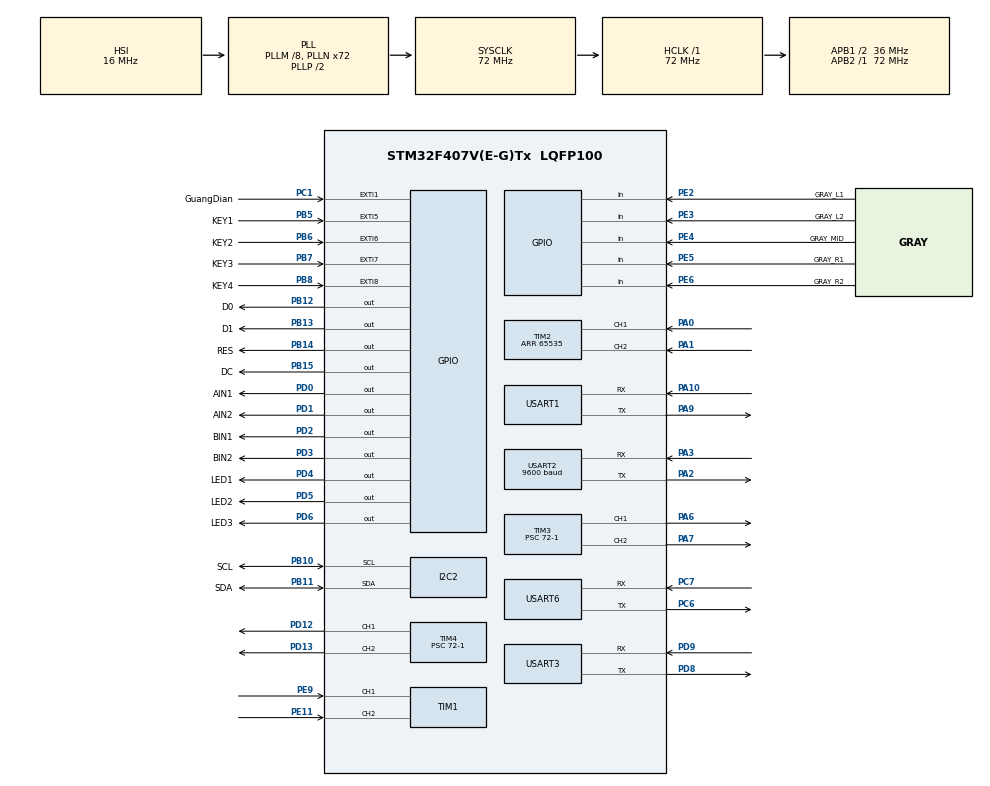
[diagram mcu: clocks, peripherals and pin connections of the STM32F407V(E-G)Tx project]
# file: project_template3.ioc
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I2C2.I2C_Mode=I2C_Fast
Mcu.Family=STM32F4
Mcu.Name=STM32F407V(E-G)Tx
Mcu.Package=LQFP100
NVIC.EXTI1_IRQn=true\:0\:0\:false\:false\:true\:true\:true
NVIC.I2C2_ER_IRQn=true\:0\:0\:false\:false\:true\:true\:true
NVIC.I2C2_EV_IRQn=true\:0\:0\:false\:false\:true\:true\:true
NVIC.PriorityGroup=NVIC_PRIORITYGROUP_4
NVIC.TIM1_BRK_TIM9_IRQn=true\:0\:0\:false\:false\:true\:true\:true
NVIC.TIM1_CC_IRQn=true\:0\:0\:false\:false\:true\:true\:true
NVIC.TIM1_TRG_COM_TIM11_IRQn=true\:0\:0\:false\:false\:true\:true\:true
NVIC.TIM1_UP_TIM10_IRQn=true\:0\:0\:false\:false\:true\:true\:true
NVIC.TIM3_IRQn=true\:0\:0\:false\:false\:true\:true\:true
NVIC.TIM6_DAC_IRQn=true\:1\:0\:true\:false\:true\:true\:true
NVIC.USART1_IRQn=true\:0\:0\:false\:false\:true\:true\:true
NVIC.USART2_IRQn=true\:0\:0\:false\:false\:true\:true\:true
NVIC.USART3_IRQn=true\:0\:0\:false\:false\:true\:true\:true
NVIC.USART6_IRQn=true\:0\:0\:false\:false\:true\:true\:true
PA0-WKUP.Signal=S_TIM2_CH1_ETR
PA1.Signal=S_TIM2_CH2
PA10.Mode=Asynchronous
PA10.Signal=USART1_RX
PA13.Mode=JTAG_5_pins
PA13.Signal=SYS_JTMS-SWDIO
PA14.Mode=JTAG_5_pins
PA14.Signal=SYS_JTCK-SWCLK
PA15.Mode=JTAG_5_pins
PA15.Signal=SYS_JTDI
PA2.Mode=Asynchronous
PA2.Signal=USART2_TX
PA3.Mode=Asynchronous
PA3.Signal=USART2_RX
PA6.Signal=S_TIM3_CH1
PA7.Signal=S_TIM3_CH2
PA9.Mode=Asynchronous
PA9.Signal=USART1_TX
PB10.GPIO_Label=SCL
PB10.Mode=I2C
PB10.Signal=I2C2_SCL
PB11.GPIO_Label=SDA
PB11.Mode=I2C
PB11.Signal=I2C2_SDA
PB12.GPIO_Label=D0
PB12.Signal=GPIO_Output
PB13.GPIO_Label=D1
PB13.Signal=GPIO_Output
PB14.GPIO_Label=RES
PB14.Signal=GPIO_Output
PB15.GPIO_Label=DC
PB15.Signal=GPIO_Output
PB3.Mode=JTAG_5_pins
PB3.Signal=SYS_JTDO-SWO
PB4.Mode=JTAG_5_pins
PB4.Signal=SYS_JTRST
PB5.GPIO_Label=KEY1
PB5.Signal=GPXTI5
PB6.GPIO_Label=KEY2
PB6.Signal=GPXTI6
PB7.GPIO_Label=KEY3
PB7.Signal=GPXTI7
PB8.GPIO_Label=KEY4
PB8.Signal=GPXTI8
PC1.GPIO_Label=GuangDian
PC1.GPIO_ModeDefaultEXTI=GPIO_MODE_IT_RISING_FALLING
PC1.Signal=GPXTI1
PC14-OSC32_IN.Mode=LSE-External-Oscillator
PC14-OSC32_IN.Signal=RCC_OSC32_IN
PC15-OSC32_OUT.Mode=LSE-External-Oscillator
PC15-OSC32_OUT.Signal=RCC_OSC32_OUT
PC6.Mode=Asynchronous
PC6.Signal=USART6_TX
PC7.Mode=Asynchronous
PC7.Signal=USART6_RX
PD0.GPIO_Label=AIN1
PD0.Signal=GPIO_Output
PD1.GPIO_Label=AIN2
PD1.Signal=GPIO_Output
PD12.Signal=S_TIM4_CH1
PD13.Signal=S_TIM4_CH2
PD2.GPIO_Label=BIN1
PD2.Signal=GPIO_Output
PD3.GPIO_Label=BIN2
PD3.Signal=GPIO_Output
PD4.GPIO_Label=LED1
PD4.PinState=GPIO_PIN_SET
PD4.Signal=GPIO_Output
PD5.GPIO_Label=LED2
PD5.PinState=GPIO_PIN_SET
PD5.Signal=GPIO_Output
PD6.GPIO_Label=LED3
PD6.PinState=GPIO_PIN_SET
PD6.Signal=GPIO_Output
PD8.Mode=Asynchronous
PD8.Signal=USART3_TX
PD9.Mode=Asynchronous
PD9.Signal=USART3_RX
PE11.Signal=S_TIM1_CH2
PE2.GPIO_Label=GRAY_L1
PE2.Signal=GPIO_Input
PE3.GPIO_Label=GRAY_L2
PE3.Signal=GPIO_Input
PE4.GPIO_Label=GRAY_MID
PE4.Signal=GPIO_Input
PE5.GPIO_Label=GRAY_R1
PE5.Signal=GPIO_Input
PE6.GPIO_Label=GRAY_R2
PE6.Signal=GPIO_Input
PE9.Signal=S_TIM1_CH1
PH0-OSC_IN.Mode=HSE-External-Oscillator
PH0-OSC_IN.Signal=RCC_OSC_IN
PH1-OSC_OUT.Mode=HSE-External-Oscillator
PH1-OSC_OUT.Signal=RCC_OSC_OUT
ProjectManager.HeapSize=0x200
ProjectManager.StackSize=0x400
ProjectManager.TargetToolchain=MDK-ARM V5.27
RCC.48MHZClocksFreq_Value=36000000
RCC.AHBFreq_Value=72000000
RCC.APB1CLKDivider=RCC_HCLK_DIV2
RCC.APB1Freq_Value=36000000
RCC.APB1TimFreq_Value=72000000
RCC.APB2Freq_Value=72000000
RCC.APB2TimFreq_Value=72000000
RCC.CortexFreq_Value=72000000
RCC.HCLKFreq_Value=72000000
RCC.HSE_VALUE=25000000
RCC.HSI_VALUE=16000000
RCC.PLLM=8
RCC.PLLN=72
RCC.SYSCLKFreq_VALUE=72000000
RCC.SYSCLKSource=RCC_SYSCLKSOURCE_PLLCLK
RCC.VCOOutputFreq_Value=144000000
SH.S_TIM1_CH1.0=TIM1_CH1,Encoder_Interface
SH.S_TIM1_CH2.0=TIM1_CH2,Encoder_Interface
SH.S_TIM2_CH1_ETR.0=TIM2_CH1,Encoder_Interface
SH.S_TIM2_CH2.0=TIM2_CH2,Encoder_Interface
SH.S_TIM3_CH1.0=TIM3_CH1,PWM Generation1 CH1
SH.S_TIM3_CH2.0=TIM3_CH2,PWM Generation2 CH2
SH.S_TIM4_CH1.0=TIM4_CH1,PWM Generation1 CH1
SH.S_TIM4_CH2.0=TIM4_CH2,PWM Generation2 CH2
TIM1.EncoderMode=TIM_ENCODERMODE_TI12
TIM1.IC1Filter=6
TIM1.IC2Filter=6
TIM2.EncoderMode=TIM_ENCODERMODE_TI12
TIM2.IC1Filter=6
TIM2.IC2Filter=6
TIM2.Period=65535
TIM3.Channel-PWM\ Generation1\ CH1=TIM_CHANNEL_1
TIM3.Channel-PWM\ Generation2\ CH2=TIM_CHANNEL_2
TIM3.Period=2000-1
TIM3.Prescaler=72-1
TIM4.Channel-PWM\ Generation1\ CH1=TIM_CHANNEL_1
TIM4.Channel-PWM\ Generation2\ CH2=TIM_CHANNEL_2
TIM4.Period=20000-1
TIM4.Prescaler=72-1
TIM6.AutoReloadPreload=TIM_AUTORELOAD_PRELOAD_DISABLE
TIM6.Period=400-1
TIM6.Prescaler=7200-1
USART1.VirtualMode=VM_ASYNC
USART2.BaudRate=9600
USART2.VirtualMode=VM_ASYNC
USART3.VirtualMode=VM_ASYNC
USART6.VirtualMode=VM_ASYNC
VP_TIM6_VS_ClockSourceINT.Mode=Enable_Timer
board=custom

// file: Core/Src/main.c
/* USER CODE BEGIN Header */
/**
  ******************************************************************************
  * @file           : main.c
  * @brief          : Main program body
  ******************************************************************************
  * @attention
  *
  * Copyright (c) 2022 STMicroelectronics.
  * All rights reserved.
  *
  * This software is licensed under terms that can be found in the LICENSE file
  * in the root directory of this software component.
  * If no LICENSE file comes with this software, it is provided AS-IS.
  *
  ******************************************************************************
  */
/* USER CODE END Header */
#include "main.h"
#include "i2c.h"
#include "tim.h"
#include "usart.h"
#include "gpio.h"

/* USER CODE BEGIN PV */
char str_oled[50] = {0};

short gx, gy, gz;
short ax, ay, az;

/*  小车执行任务代码  0-无任务default 1-近端任务 2-中端任务 3-远端任务 */
uint8_t Car_Task = 0, task_dir = 0;
uint8_t LoadOrNot = 0;
uint8_t Do_count = 0;	//任务执行步骤

/* 任务一 近端病房 */
uint8_t task1_dir = 2;
uint8_t finish_11 = 0, start_11 = 0;
uint8_t finish_12 = 0, start_12 = 0;

/* 任务二 中端病房 */
uint8_t task2_dir = 1;
uint8_t finish_21 = 0, start_21 = 0;
uint8_t finish_22 = 0, start_22 = 0;

/* 任务三 远端病房 */
uint8_t task3_dir = 0;
uint8_t finish_31 = 0, start_31 = 0;
uint8_t finish_32 = 0, start_32 = 0;
/* USER CODE END PV */

void SystemClock_Config(void);

int main(void)
{

  /* MCU Configuration--------------------------------------------------------*/

  /* Reset of all peripherals, Initializes the Flash interface and the Systick. */
  HAL_Init();

  /* Configure the system clock */
  SystemClock_Config();

  /* USER CODE BEGIN SysInit */
	delay_init(72);
  /* USER CODE END SysInit */

  /* Initialize all configured peripherals */
  MX_GPIO_Init();
  MX_TIM1_Init();
  MX_TIM2_Init();
  MX_TIM3_Init();
  MX_TIM6_Init();
  MX_USART1_UART_Init();
  MX_USART2_UART_Init();
  MX_USART3_UART_Init();
  MX_USART6_UART_Init();
  MX_I2C2_Init();
  MX_TIM4_Init();
  /* USER CODE BEGIN 2 */
	OLED_Init();	//oled初始化 ！！！一定要放在GOIO_Init()之后

//	MPU6050_Init();	//mpu6050初始化
//	while(MPU6050ReadID() != 0x68)
//	{
//		OLED_Show_Position(1,6,"MPU6050 error!");
//		printf("MPU ID错误\r\n");
//	}
//	OLED_Show_Position(1,6,"MPU6050 ready!");

	__HAL_TIM_SET_COUNTER(&htim6,400-1); //40ms
	HAL_TIM_Base_Start_IT(&htim6); //电机任务

	Left_Enable();
	Right_Enable();

	HAL_UART_Receive_IT(&ComputerInterrupt,(uint8_t *)&Computer_Rxbuffer,1);	//开上位机接收中断
	HAL_UART_Receive_IT(&BleInterrupt,(uint8_t *)&Ble_Rxbuffer,1);						//开蓝牙接收中断
	HAL_UART_Receive_IT(&OpenmvInterrupt,(uint8_t *)&Openmv_Rxbuffer,1);			//开openmv接收中断

  Encoder_Configuration();//编码器启动

	PID_param_init();/* 左右轮pid控制器参数初始化 */

	/* 舵机使能 */
	//Servos_Enable();

	/* 小车直行、拐弯测试 */
	//Spin_Turn(right_90);
	//Car_Go(300);
	YunSu_GO(200);

  /* USER CODE END 2 */

  /* Infinite loop */
  /* USER CODE BEGIN WHILE */
  while (1)
  {
//		char str[50];
//		sprintf(str,"Angle.yaw: %.1f",now_car_yaw);
//		OLED_Show_Position(1,3,str);

		//OLED_Show_Position(1,6,"%d %d %d %d",err_dir,err_data_angel,err_dir2,err_data_dis);
//		OLED_Show_Position(1,6,"%d %d %d %d %d",Line_flag, Turn_flag, Stop_flag, Car_Task, task_dir);

//		sprintf(str_oled,"Task_Num: %d",Car_Task);
//		OLED_Show_Position(1,1,str_oled);

		/* 近端病房任务 */
//		if(Car_Task == 1)
//		{
//			//task1_dir = Openmv_Data[1];	//获得方向
//			/* 1 号 */
//			if(task_dir == 1)	//左 任务11
//			{
//				if(finish_11 == 0)	//任务11开始
//				{
//					switch(Do_count)
//					{
//						case 0:
//							if(LoadOrNot == 1)
//							{
//								RedLed_off();
//								GreenLed_on();
//								YunSu_GO(120);
//								Do_count++;
//							}
//						break;
//						case 1:
//							if(Turn_flag == 1)
//							{
//								Spin_Turn(left_90);
//								Do_count++;
//							}
//						break;
//						case 2:
//							if(Stop_flag == 1)
//							{
//								YunSu_GO(120);
//								Do_count++;
//							}
//						break;
//						case 3:
//							if(Stop_flag == 1 && LoadOrNot == 0)
//							{
//								Spin_Turn(back_180);
//								Do_count++;
//							}
//						break;
//						case 4:
//							if(Stop_flag == 1)
//							{
//								YunSu_GO(120);
//								Do_count++;
//							}
//						break;
//						case 5:
//							if(Turn_flag == 1)
//							{
//								Spin_Turn(right_90);
//								Do_count++;
//							}
//						break;
//						case 6:
//							if(Stop_flag == 1)
//							{
//								YunSu_GO(120);
//								Do_count++;
//							}
//						break;
//						case 7:
//							if(Stop_flag == 1)
//							{
//								Spin_Turn(back_180);
//								Do_count = 0;
//								finish_11 = 1;	//任务11结束
//								GreenLed_on();//绿灯
//							}
//						break;
//					}
//				}
//			}
//			/* 2 号 */
//			else if(task_dir == 2)	//右边 任务12
//			{
//				if(finish_12 == 0)	//任务11开始
//				{
//					switch(Do_count)
//					{
//						case 0:
//							if(LoadOrNot == 1)
//							{
//								RedLed_off();
//								GreenLed_on();
//								YunSu_GO(120);
//								Do_count++;
//							}
//						break;
//						case 1:
//							if(Turn_flag == 1)
//							{
//								Spin_Turn(left_90);
//								Do_count++;
//							}
//						break;
//						case 2:
//							if(Stop_flag == 1)
//							{
//								YunSu_GO(120);
//								Do_count++;
//							}
//						break;
//						case 3:
//							if(Stop_flag == 1 && LoadOrNot == 0)
//							{
//								Spin_Turn(back_180);
//								Do_count++;
//							}
//						break;
//						case 4:
//							if(Stop_flag == 1)
//							{
//								YunSu_GO(120);
//								Do_count++;
//							}
//						break;
//						case 5:
//							if(Turn_flag == 1)
//							{
//								Spin_Turn(right_90);
//								Do_count++;
//							}
//						break;
//						case 6:
//							if(Stop_flag == 1)
//							{
//								YunSu_GO(120);
//								Do_count++;
//							}
//						break;
//						case 7:
//							if(Stop_flag == 1)
//							{
//								Spin_Turn(back_180);
//								Do_count = 0;
//								finish_12 = 1;	//任务12结束
//								GreenLed_on();//绿灯
//							}
//						break;
//					}
//				}
//			}
//		}

		if(Car_Task == 1)
		{
			//task1_dir = Openmv_Data[1];	//获得方向
			/* 1 号 */
				if(finish_11 == 0)	//任务11开始
				{
					switch(Do_count)
					{
						case 0:
							if(LoadOrNot == 1)
							{
								YunSu_GO(120);
								Do_count++;
							}
						break;
						case 1:
							if(Turn_flag == 1)
							{
								if(task_dir == 1)
								{
									Spin_Turn(left_90);
									Do_count++;
								}
								else if(task_dir == 2)
								{
									Spin_Turn(right_90);
									Do_count++;
								}
							}
						break;
						case 2:
							if(spin_succeed_flag == 1)
							{
								YunSu_GO(120);
								Do_count++;
							}
						break;
						case 3:
							if(Stop_flag == 1 && LoadOrNot == 0)
							{
								Spin_Turn(back_180);
								Do_count++;
							}
						break;
						case 4:
							if(spin_succeed_flag == 1)
							{
								YunSu_GO(120);
								Do_count++;
							}
						break;
						case 5:
							if(Stop_flag == 1)
							{
								if(task_dir == 1)
								{
									Spin_Turn(right_90);
									Do_count++;
								}
								else if(task_dir == 2)
								{
									Spin_Turn(left_90);
									Do_count++;
								}
							}
						break;
						case 6:
							if(spin_succeed_flag == 1)
							{
								YunSu_GO(120);
								Do_count++;
							}
						break;
						case 7:
							if(Stop_flag == 1)
							{
								Spin_Turn(back_180);
								Do_count = 0;
								finish_11 = 1;	//任务11结束
								GreenLed_on();//绿灯
							}
						break;
					}
				}

			/* 2 号 */
				else if(finish_12 == 0)	//任务12开始
				{
					switch(Do_count)
					{
						case 0:
							if(LoadOrNot == 1)
							{
								YunSu_GO(120);
								Do_count++;
							}
						break;
						case 1:
//							if(task_dir == 1)
//							{
//								Spin_Turn(left_90);
//								Do_count++;
//							}
//							else if(task_dir == 2)
//							{
//								Spin_Turn(right_90);
//								Do_count++;
//							}
							if(Stop_flag == 1)
							{
								Spin_Turn(right_90);
								Do_count++;
							}
						break;
						case 2:
							if(spin_succeed_flag == 1)
							{
								YunSu_GO(120);
								Do_count++;
							}
						break;
						case 3:
							if(Stop_flag == 1)
							{
								Motor_L_stop();
								Motor_R_stop();
								Do_count++;
							}
						break;
						case 4:
							if(LoadOrNot == 0)
							{
								Spin_Turn(back_180);
								Do_count++;
							}
						break;
 						case 5:
							if(spin_succeed_flag == 1)
							{
								YunSu_GO(120);
								Do_count++;
							}
						break;
						case 6:
							if(Stop_flag == 1)
							{
								Spin_Turn(left_90);
//								if(task_dir == 1)
//								{
//									Spin_Turn(right_90);
//									Do_count++;
//								}
//								else if(task_dir == 2)
//								{
//									Spin_Turn(left_90);
//									Do_count++;
//								}
							}
						break;
						case 7:
							if(spin_succeed_flag == 1)
							{
								YunSu_GO(120);
								Do_count++;
							}
						break;
						case 8:
							if(Stop_flag == 1)
							{
								Spin_Turn(back_180);
								Do_count = 0;
								finish_12 = 1;	//任务12结束
								GreenLed_on();//绿灯
							}
						break;
					}
				}
			}

		/* 中端病房任务 */
		else if(Car_Task == 2)
		{
			if(LoadOrNot == 1)
			{
				Car_Go(135);
				while(Stop_flag != 1){delay_ms(1);}
				delay_ms(2000);
				//while(Openmv_Data[1] == 0){delay_us(1);}
				//task2_dir = Openmv_Data[1];
				if(task2_dir == 1)	//左边 任务21
				{
					if(start_21 == 0)
					{
						Car_Go(20);
						while(Stop_flag != 1){delay_ms(1);}
						Spin_Turn(left_90);
						while(Stop_flag != 1){delay_ms(1);}
						Car_Go(35);
						while(Stop_flag != 1 || LoadOrNot != 0){delay_us(1);}
						Spin_Turn(back_180);
						while(Stop_flag != 1){delay_ms(1);}
						Car_Go(35);
						while(Stop_flag != 1){delay_ms(1);}
						Spin_Turn(right_90);
						while(Stop_flag != 1){delay_ms(1);}
						Car_Go(155);
						while(Stop_flag != 1){delay_ms(1);}
						Spin_Turn(back_180);

						start_21 = 1;
						GreenLed_on();
					}
				}

			}
			else if(task2_dir == 2)	//右边 任务22
			{

			}
		}
		/* 远端病房任务 */
		else if(Car_Task == 3)
		{

		}
		else
		{
			//
		}

    /* USER CODE END WHILE */

  }
}

void SystemClock_Config(void)
{
  RCC_OscInitTypeDef RCC_OscInitStruct = {0};
  RCC_ClkInitTypeDef RCC_ClkInitStruct = {0};

  /** Configure the main internal regulator output voltage
  */
  __HAL_RCC_PWR_CLK_ENABLE();
  __HAL_PWR_VOLTAGESCALING_CONFIG(PWR_REGULATOR_VOLTAGE_SCALE1);
  /** Initializes the RCC Oscillators according to the specified parameters
  * in the RCC_OscInitTypeDef structure.
  */
  RCC_OscInitStruct.OscillatorType = RCC_OSCILLATORTYPE_HSI;
  RCC_OscInitStruct.HSIState = RCC_HSI_ON;
  RCC_OscInitStruct.HSICalibrationValue = RCC_HSICALIBRATION_DEFAULT;
  RCC_OscInitStruct.PLL.PLLState = RCC_PLL_ON;
  RCC_OscInitStruct.PLL.PLLSource = RCC_PLLSOURCE_HSI;
  RCC_OscInitStruct.PLL.PLLM = 8;
  RCC_OscInitStruct.PLL.PLLN = 72;
  RCC_OscInitStruct.PLL.PLLP = RCC_PLLP_DIV2;
  RCC_OscInitStruct.PLL.PLLQ = 4;
  if (HAL_RCC_OscConfig(&RCC_OscInitStruct) != HAL_OK)
  {
    Error_Handler();
  }
  /** Initializes the CPU, AHB and APB buses clocks
  */
  RCC_ClkInitStruct.ClockType = RCC_CLOCKTYPE_HCLK|RCC_CLOCKTYPE_SYSCLK
                              |RCC_CLOCKTYPE_PCLK1|RCC_CLOCKTYPE_PCLK2;
  RCC_ClkInitStruct.SYSCLKSource = RCC_SYSCLKSOURCE_PLLCLK;
  RCC_ClkInitStruct.AHBCLKDivider = RCC_SYSCLK_DIV1;
  RCC_ClkInitStruct.APB1CLKDivider = RCC_HCLK_DIV2;
  RCC_ClkInitStruct.APB2CLKDivider = RCC_HCLK_DIV1;

  if (HAL_RCC_ClockConfig(&RCC_ClkInitStruct, FLASH_LATENCY_2) != HAL_OK)
  {
    Error_Handler();
  }
}

void Error_Handler(void)
{
  __disable_irq();
  while (1)
  {
  }
}
